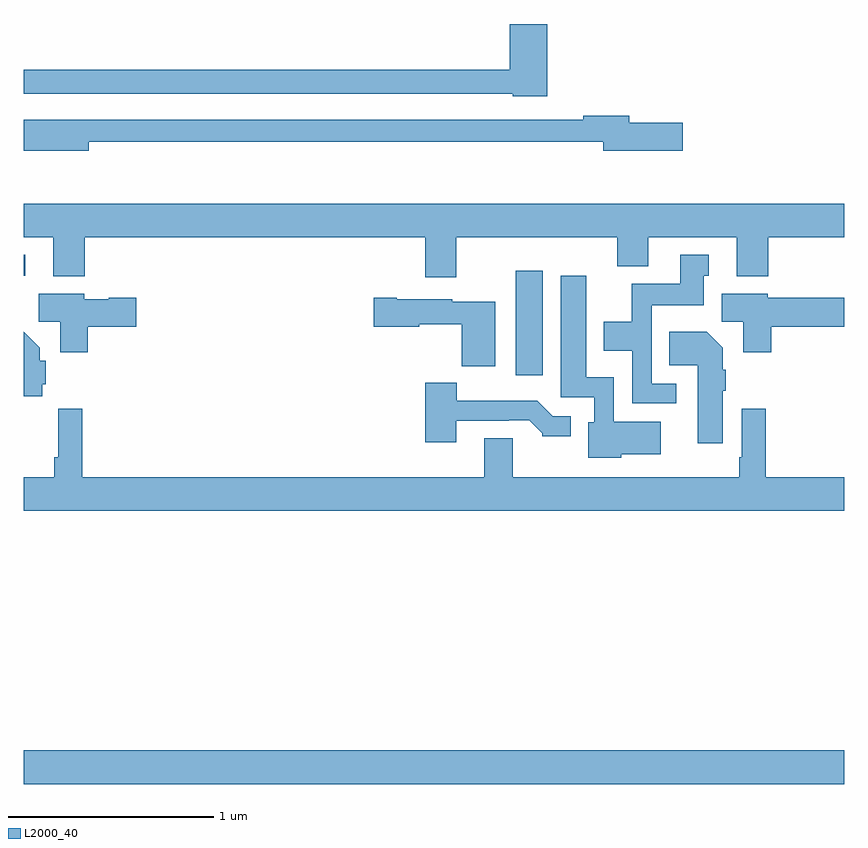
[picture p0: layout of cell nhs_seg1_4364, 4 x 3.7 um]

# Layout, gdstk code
import gdstk
lib = gdstk.Library(unit=1e-6, precision=1e-09)
def R(c, l, rs):  # rectangles x0, y0, x1, y1
    for r in rs: c.add(gdstk.rectangle(r[:2], r[2:], *l))
def P(c, l, *ps):  # polygons
    for p in ps: c.add(gdstk.Polygon(p, *l))
L2000_40 = (2000, 40)

nhs_seg1_4364 = lib.new_cell('nhs_seg1_4364')
R(nhs_seg1_4364, L2000_40, [(349,510.44,353,510.604), (351.398,512.433,351.529,512.941), (349,512.916,349.009,513.019)])
P(nhs_seg1_4364, L2000_40, [(351.551,514.144),(351.368,514.144),(351.368,513.92),(349,513.92),(349,513.804),(351.384,513.804),(351.384,513.791),(351.551,513.791)],
  [(349.318,513.57),(351.824,513.57),(351.824,513.527),(352.213,513.527),(352.213,513.662),(351.952,513.662),(351.952,513.698),(351.728,513.698),(351.728,513.678),(349,513.678),(349,513.527),(349.318,513.527)],
  [(351.109,513.104),(351.893,513.104),(351.893,512.963),(352.045,512.963),(352.045,513.104),(352.475,513.104),(352.475,512.915),(352.628,512.915),(352.628,513.104),(353,513.104),(353,513.268),(349,513.268),(349,513.104),(349.145,513.104),(349.145,512.915),(349.298,512.915),(349.298,513.104),(350.957,513.104),(350.957,512.91),(351.109,512.91)],
  [(352.18,512.391),(352.062,512.391),(352.062,512.774),(352.315,512.774),(352.315,512.916),(352.339,512.916),(352.339,513.019),(352.199,513.019),(352.199,512.878),(351.964,512.878),(351.964,512.692),(351.827,512.692),(351.827,512.552),(351.966,512.552),(351.966,512.295),(352.18,512.295)],
  [(351.912,512.048),(352.105,512.048),(352.105,512.206),(351.876,512.206),(351.876,512.422),(351.742,512.422),(351.742,512.917),(351.617,512.917),(351.617,512.325),(351.78,512.325),(351.78,512.202),(351.752,512.202),(351.752,512.03),(351.912,512.03)],
  [(352.643,512.669),(353,512.669),(353,512.811),(352.626,512.811),(352.626,512.83),(352.403,512.83),(352.403,512.692),(352.508,512.692),(352.508,512.544),(352.643,512.544)],
  [(349.313,512.669),(349.549,512.669),(349.549,512.811),(349.416,512.811),(349.416,512.803),(349.296,512.803),(349.296,512.83),(349.073,512.83),(349.073,512.692),(349.178,512.692),(349.178,512.544),(349.313,512.544)],
  [(351.298,512.791),(351.09,512.791),(351.09,512.803),(350.818,512.803),(350.818,512.811),(350.706,512.811),(350.706,512.669),(350.928,512.669),(350.928,512.681),(351.136,512.681),(351.136,512.477),(351.298,512.477)],
  [(349.091,512.388),(349.108,512.388),(349.108,512.502),(349.078,512.502),(349.078,512.566),(349,512.644),(349,512.33),(349.091,512.33)],
  [(352.408,512.356),(352.421,512.356),(352.421,512.459),(352.408,512.459),(352.408,512.566),(352.33,512.644),(352.147,512.644),(352.147,512.48),(352.286,512.48),(352.286,512.1),(352.408,512.1)],
  [(351.109,512.211),(351.365,512.211),(351.365,512.214),(351.464,512.214),(351.528,512.15),(351.528,512.135),(351.667,512.135),(351.667,512.232),(351.579,512.232),(351.503,512.308),(351.112,512.308),(351.112,512.395),(350.957,512.395),(350.957,512.106),(351.109,512.106)],
  [(353,511.936),(352.616,511.936),(352.616,512.269),(352.5,512.269),(352.5,512.032),(352.488,512.032),(352.488,511.936),(351.385,511.936),(351.385,512.126),(351.245,512.126),(351.245,511.936),(349.286,511.936),(349.286,512.269),(349.168,512.269),(349.168,512.032),(349.15,512.032),(349.15,511.936),(349,511.936),(349,511.772),(353,511.772)])

lib.write_gds('nhs_seg1_4364.gds')
